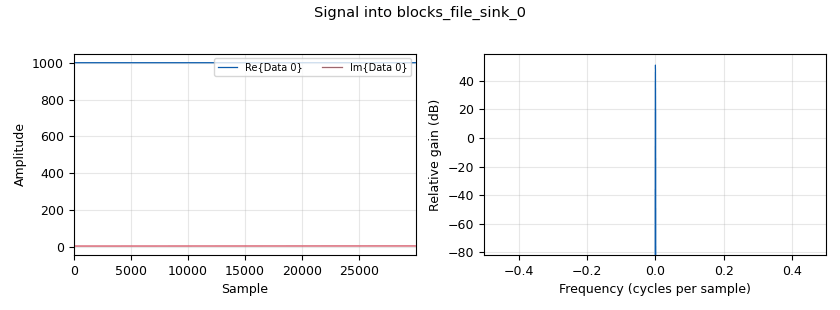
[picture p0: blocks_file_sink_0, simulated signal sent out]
options:
  parameters:
    comment: |-
      toDO
      -add rational resampler
      	-esp expander/interpolator
    generate_options: qt_gui
    id: testautocorrelationfunction
    output_language: python
    title: Not titled yet
  states: {}

blocks:
- name: samp_rate
  id: variable
  parameters:
    value: 5e6
  states: {}
- name: analog_sig_source_x_0
  id: analog_sig_source_x
  parameters:
    amp: '1000'
    freq: 1/60
    offset: '0'
    phase: '0'
    samp_rate: samp_rate
    type: complex
    waveform: analog.GR_COS_WAVE
  states: {}
- name: analog_sig_source_x_1
  id: analog_sig_source_x
  parameters:
    amp: '1000'
    freq: '1000'
    offset: '0'
    phase: 3.14*.5
    samp_rate: samp_rate
    type: complex
    waveform: analog.GR_COS_WAVE
  states: {state: disabled}
- name: blocks_file_sink_0
  id: blocks_file_sink
  parameters:
    file: C:\Users\Kate\OSUProject\MastersProject\test_file_interp
    type: complex
  states: {}
- name: blocks_throttle2_0
  id: blocks_throttle2
  parameters:
    samples_per_second: samp_rate
    type: complex
  states: {state: disabled}
- name: epy_block_1
  id: epy_block
  parameters:
    _source_code: |
      """
      Embedded Python Blocks:

      Each time this file is saved, GRC will instantiate the first class it finds
      to get ports and parameters of your block. The arguments to __init__  will
      be the parameters. All of them are required to have default values!
      """

      import numpy as np
      from gnuradio import gr


      class blk(gr.sync_block):  # other base classes are basic_block, decim_block, interp_block
          """Embedded Python Block example - a simple multiply const"""

          def __init__(self, additionFlag=True):  # only default arguments here
              """arguments to this function show up as parameters in GRC"""
              gr.sync_block.__init__(
                  self,
                  name='Add or Multiply Block',   # will show up in GRC
                  in_sig=[np.complex64, np.complex64],
                  out_sig=[np.complex64]
              )
              # if an attribute with the same name as a parameter is found,
              # a callback is registered (properties work, too).
              self.additionFlag = additionFlag

          def work(self, input_items, output_items):
              """example: multiply with constant"""

              if self.additionFlag:
                  output_items[0][:] = input_items[0][:] + input_items[1][:]
              else:
                  output_items[0][:] = input_items[0][:] * input_items[1][:]

              return len(output_items[0])
    additionFlag: 'True'
  states: {state: disabled}
- name: epy_block_2
  id: epy_block
  parameters:
    Px: '1920'
    Py: '1080'
    _source_code: "\n\"\"\"\nCorrelation/Sync Block\nDeveloped by Kate Gothberg\nLast Edited: 5/15/25\n\n\"\"\"\n\nimport numpy as np\nfrom gnuradio import gr\n\nclass blk(gr.interp_block):   #gr.sync_block\n    \n    \"\"\"\n    initialize the block\n    params:\n        in_sig: input samples\n        out_sig: output samples\n        Px: number of pixels x axis\n        Py: number of pixels y axis\n        fv: refresh rate of monitor\n        samp_rate: sampling rate of gnu\n    \"\"\"\n    def __init__(self, Px=1920.0, Py= 1080.0, fv = 60.0, samp_rate = 50e6):  \n        gr.sync_block.__init__(\n            self,\n            name='Correlation/Synch Block', \n            in_sig=[np.complex64],\n            out_sig=[np.complex64]\n        )\n        self.Px = Px\n        self.Py = Py\n        self.fv = fv\n        self.samp_rate = samp_rate\n\n    \"\"\"\n    functional code over samples\n    \"\"\"\n    def work(self, input_items, output_items):\n\n        samples = input_items[0] #rename input samples\n        symbol_buffer = []       #storage for each block of samples\n        symbol_buffer_prev = []  #storage of previous block/ frame\n        Tv = 1/(self.fv)         #length of frame in time\n        window = np.floor(Tv * self.samp_rate)  #number of samples per frame \n\n\n        #iterate for all samples\n        for i, sample in enumerate(samples):\n\n            \"\"\"\n            Determine autocorr and max point\n            \"\"\"\n\n            #add to sample block\n            symbol_buffer.append(samples[i])\n\n            #if block is full continue processing\n            if len(symbol_buffer) == window:\n\n                if len(symbol_buffer_prev) == window:\n    \n                    #correlation and reset of buffer\n                    corr_data = np.correlate(symbol_buffer, symbol_buffer_prev, \"same\")\n                    corr_data = corr_data / window\n\n                    middle = np.argmax(corr_data)\n\n                    corr_data = []\n                \n                #reset symbol_buffer and allocate prev buffer\n                symbol_buffer_prev = symbol_buffer\n                symbol_buffer = []\n\n            \"\"\"\n            Linear Interpolator: Samples\n            \n            V = self.Py\n            H = np.floor(self.Px*self.samp_rate/self.fv)\n            \n            zeros_array = np.zeros(5000) #np.zeros(self.Px*self.Py-1) #np.zeros(1024)\n            output = np.append(zeros_array, samples[i])\n            for j in range(len(output)-5):\n                    output_items[0][j] = output[j]\n\n\n            \n            #output_items[0][i*(self.Px*self.Py):(i+1)*(self.Px*self.Py)] = np.append(zeros_array, samples[i])\n            \"\"\"\n\n            #output_items[0][i] = samples[i]\n        \n        return len(output_items[0])\n"
    fv: '60'
    maxoutbuf: '10000'
    samp_rate: samp_rate
  states: {state: disabled}
- name: rational_resampler_xxx_0
  id: rational_resampler_xxx
  parameters:
    decim: '1024'
    interp: '1'
    type: ccc
  states: {state: bypassed}

connections:
- [analog_sig_source_x_0, '0', blocks_throttle2_0, '0']
- [analog_sig_source_x_0, '0', epy_block_2, '0']
- [analog_sig_source_x_0, '0', rational_resampler_xxx_0, '0']
- [analog_sig_source_x_1, '0', epy_block_1, '1']
- [blocks_throttle2_0, '0', epy_block_2, '0']
- [epy_block_2, '0', blocks_file_sink_0, '0']
- [rational_resampler_xxx_0, '0', blocks_file_sink_0, '0']

metadata:
  file_format: 1
  grc_version: 3.10.10.0
